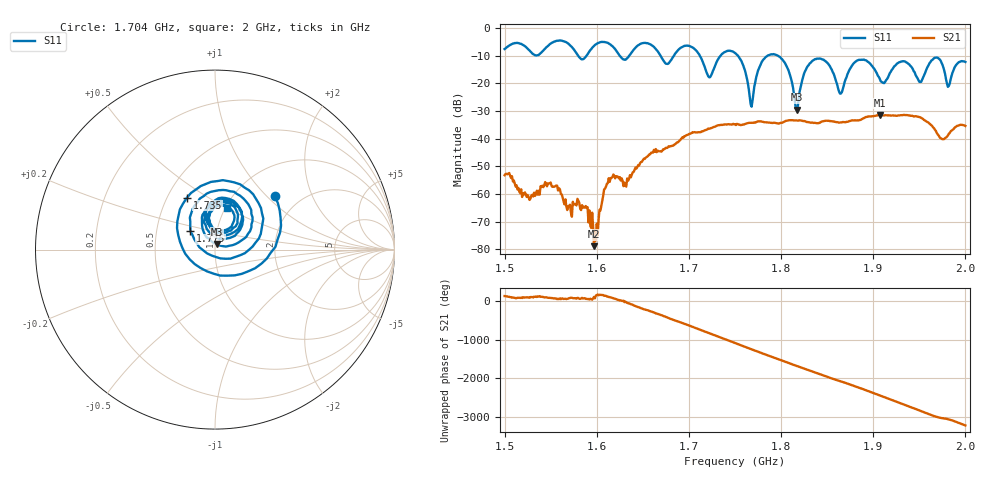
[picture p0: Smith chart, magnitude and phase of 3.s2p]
! NanoVNA-App by SYSJOINT et al v1.1.209 (+OD18)
! Date: 2026-01-21 14:43:40
! Start: 1,5GHz Stop: 2GHz Points: 501
! S-Parameter data: F S11 S21 S12 S22
# Hz S RI R 50
!  Frequency  S11_Real  S11_Imag  S21_Real  S21_Imag  S12_Real  S12_Imag  S22_Real  S22_Imag
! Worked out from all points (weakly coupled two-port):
!   501 points, 1.5 GHz to 2 GHz, reference 50 ohm
!   highest |S21| = -31.37 dB at 1.907 GHz (marker M1); lowest = -78.8 dB at 1.597 GHz (marker M2)
!   lowest |S11| = -29.5 dB at 1.817 GHz (marker M3), VSWR 1.07, Z = 51 + j3.23 ohm
!   |S11| at or under -10 dB: 1.712 GHz to 1.734 GHz (22.44 MHz wide, 1.3 % of centre); 1.753 GHz to 1.785 GHz (31.89 MHz wide, 1.8 % of centre); 1.797 GHz to end of sweep (the widest 3 of 6)
!   S12 and S22 are empty: the file has one direction only
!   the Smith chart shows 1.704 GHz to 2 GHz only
!   S11 on the Smith chart (normalised r, x): 1.704 GHz: 1.50, +1.11; 1.735 GHz: 0.63, +0.41; 1.775 GHz: 0.74, +0.16; 2 GHz: 1.02, +0.51
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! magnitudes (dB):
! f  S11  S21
! 1.5 GHz  -7.6  -53.2
! 1.584 GHz  -11.3  -64.0
! 1.597 GHz  -6.4  -78.8
! 1.615 GHz  -6.0  -54.2
! 1.667 GHz  -8.8  -44.5
! 1.704 GHz  -7.0  -37.6
! 1.722 GHz  -17.8  -36.3
! 1.735 GHz  -9.7  -35.0
! 1.75 GHz  -9.0  -34.7
! 1.768 GHz  -28.4  -34.2
! 1.775 GHz  -15.3  -33.7
! 1.799 GHz  -10.5  -34.3
! 1.817 GHz  -29.5  -33.4
! 1.834 GHz  -11.8  -34.1
! 1.864 GHz  -23.7  -34.1
! 1.884 GHz  -11.5  -33.3
! 1.907 GHz  -18.3  -31.4
! 1.917 GHz  -17.1  -31.5
! 1.951 GHz  -19.5  -32.2
! 1.969 GHz  -10.7  -37.9
! 1.982 GHz  -20.9  -38.2
! 2 GHz  -12.3  -35.4
